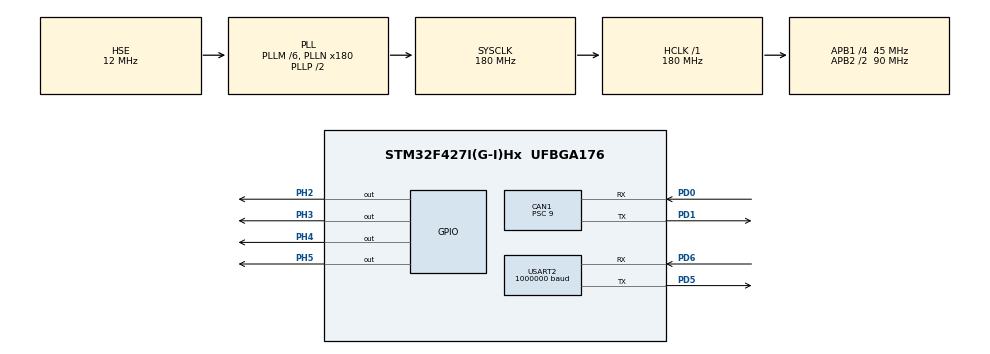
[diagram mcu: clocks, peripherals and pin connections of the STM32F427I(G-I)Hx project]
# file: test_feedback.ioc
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CAN1.ABOM=ENABLE
CAN1.BS1=CAN_BS1_2TQ
CAN1.BS2=CAN_BS2_2TQ
CAN1.CalculateBaudRate=1000000
CAN1.CalculateTimeBit=1000
CAN1.CalculateTimeQuantum=200.0
CAN1.Prescaler=9
Dma.Request0=USART2_RX
Dma.Request1=USART2_TX
Dma.USART2_RX.0.Direction=DMA_PERIPH_TO_MEMORY
Dma.USART2_RX.0.FIFOMode=DMA_FIFOMODE_DISABLE
Dma.USART2_RX.0.Instance=DMA1_Stream5
Dma.USART2_RX.0.MemDataAlignment=DMA_MDATAALIGN_BYTE
Dma.USART2_RX.0.MemInc=DMA_MINC_ENABLE
Dma.USART2_RX.0.Mode=DMA_NORMAL
Dma.USART2_RX.0.PeriphDataAlignment=DMA_PDATAALIGN_BYTE
Dma.USART2_RX.0.PeriphInc=DMA_PINC_DISABLE
Dma.USART2_RX.0.Priority=DMA_PRIORITY_LOW
Dma.USART2_TX.1.Direction=DMA_MEMORY_TO_PERIPH
Dma.USART2_TX.1.FIFOMode=DMA_FIFOMODE_DISABLE
Dma.USART2_TX.1.Instance=DMA1_Stream6
Dma.USART2_TX.1.MemDataAlignment=DMA_MDATAALIGN_BYTE
Dma.USART2_TX.1.MemInc=DMA_MINC_ENABLE
Dma.USART2_TX.1.Mode=DMA_NORMAL
Dma.USART2_TX.1.PeriphDataAlignment=DMA_PDATAALIGN_BYTE
Dma.USART2_TX.1.PeriphInc=DMA_PINC_DISABLE
Dma.USART2_TX.1.Priority=DMA_PRIORITY_LOW
Mcu.Family=STM32F4
Mcu.Name=STM32F427I(G-I)Hx
Mcu.Package=UFBGA176
NVIC.CAN1_RX0_IRQn=true\:0\:0\:false\:false\:true\:true\:true\:true
NVIC.CAN1_RX1_IRQn=true\:0\:0\:false\:false\:true\:true\:true\:true
NVIC.DMA1_Stream5_IRQn=true\:0\:0\:false\:false\:true\:false\:true\:true
NVIC.DMA1_Stream6_IRQn=true\:0\:0\:false\:false\:true\:false\:true\:true
NVIC.PriorityGroup=NVIC_PRIORITYGROUP_4
NVIC.USART2_IRQn=true\:0\:0\:false\:false\:true\:true\:true\:true
PA13.Mode=Serial_Wire
PA13.Signal=SYS_JTMS-SWDIO
PA14.Mode=Serial_Wire
PA14.Signal=SYS_JTCK-SWCLK
PD0.Mode=CAN_Activate
PD0.Signal=CAN1_RX
PD1.Mode=CAN_Activate
PD1.Signal=CAN1_TX
PD5.Mode=Asynchronous
PD5.Signal=USART2_TX
PD6.Mode=Asynchronous
PD6.Signal=USART2_RX
PH0/OSC_IN.Mode=HSE-External-Oscillator
PH0/OSC_IN.Signal=RCC_OSC_IN
PH1/OSC_OUT.Mode=HSE-External-Oscillator
PH1/OSC_OUT.Signal=RCC_OSC_OUT
PH2.GPIO_PuPd=GPIO_PULLDOWN
PH2.Signal=GPIO_Output
PH3.GPIO_PuPd=GPIO_PULLDOWN
PH3.Signal=GPIO_Output
PH4.GPIO_PuPd=GPIO_PULLDOWN
PH4.Signal=GPIO_Output
PH5.GPIO_PuPd=GPIO_PULLDOWN
PH5.Signal=GPIO_Output
ProjectManager.HeapSize=0x200
ProjectManager.StackSize=0x400
ProjectManager.TargetToolchain=MDK-ARM V5.32
RCC.48MHZClocksFreq_Value=90000000
RCC.AHBFreq_Value=180000000
RCC.APB1CLKDivider=RCC_HCLK_DIV4
RCC.APB1Freq_Value=45000000
RCC.APB1TimFreq_Value=90000000
RCC.APB2CLKDivider=RCC_HCLK_DIV2
RCC.APB2Freq_Value=90000000
RCC.APB2TimFreq_Value=180000000
RCC.CortexFreq_Value=180000000
RCC.HCLKFreq_Value=180000000
RCC.HSE_VALUE=12000000
RCC.HSI_VALUE=16000000
RCC.LSE_VALUE=32768
RCC.PLLM=6
RCC.PLLN=180
RCC.PLLSourceVirtual=RCC_PLLSOURCE_HSE
RCC.SYSCLKFreq_VALUE=180000000
RCC.SYSCLKSource=RCC_SYSCLKSOURCE_PLLCLK
RCC.VCOOutputFreq_Value=360000000
USART2.BaudRate=1000000
USART2.VirtualMode=VM_ASYNC
board=custom

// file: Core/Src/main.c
/* USER CODE BEGIN Header */
/**
 ******************************************************************************
 * @file           : main.c
 * @brief          : Main program body
 ******************************************************************************
 * @attention
 *
 * Copyright (c) 2023 STMicroelectronics.
 * All rights reserved.
 *
 * This software is licensed under terms that can be found in the LICENSE file
 * in the root directory of this software component.
 * If no LICENSE file comes with this software, it is provided AS-IS.
 *
 ******************************************************************************
 */
/* USER CODE END Header */
#include "main.h"
#include "can.h"
#include "dma.h"
#include "usart.h"
#include "gpio.h"

/* USER CODE BEGIN Includes */

#include "drv_bsp.h"

#include "dvc_serialplot.h"
#include "dvc_motor.h"

/* USER CODE END Includes */

/* USER CODE BEGIN PV */

Class_Serialplot serialplot;
Class_Motor_C620 motor;

float Target_Angle, Now_Angle, Target_Omega, Now_Omega;

uint32_t Counter = 0;

static char Variable_Assignment_List[][SERIALPLOT_RX_VARIABLE_ASSIGNMENT_MAX_LENGTH] = {
    //电机调PID
    "po",
    "io",
    "do",
    "fo",
};

/* USER CODE END PV */

void SystemClock_Config(void);

/* USER CODE BEGIN 0 */

/**
 * @brief CAN报文回调函数
 *
 * @param Rx_Buffer CAN接收的信息结构体
 */
void CAN_Motor_Call_Back(Struct_CAN_Rx_Buffer *Rx_Buffer)
{
    switch (Rx_Buffer->Header.StdId)
    {
        case (0x201):
        {
            motor.CAN_RxCpltCallback(Rx_Buffer->Data);
        }
        break;
    }
}

/**
 * @brief HAL库UART接收DMA空闲中断
 *
 * @param huart UART编号
 * @param Size 长度
 */
void UART_Serialplot_Call_Back(uint8_t *Buffer, uint16_t Length)
{
    serialplot.UART_RxCpltCallback(Buffer);
    switch (serialplot.Get_Variable_Index())
    {
        // 电机调PID
        case(0):
        {
            motor.PID_Omega.Set_K_P(serialplot.Get_Variable_Value());
        }
        break;
        case(1):
        {
            motor.PID_Omega.Set_K_I(serialplot.Get_Variable_Value());
        }
        break;
        case(2):
        {
            motor.PID_Omega.Set_K_D(serialplot.Get_Variable_Value());
        }
        break;
        case(3):
        {
            motor.PID_Omega.Set_K_F(serialplot.Get_Variable_Value());
        }
        break;
    }
}

/* USER CODE END 0 */

int main(void)
{

  /* MCU Configuration--------------------------------------------------------*/

  /* Reset of all peripherals, Initializes the Flash interface and the Systick. */
  HAL_Init();

  /* Configure the system clock */
  SystemClock_Config();

  /* Initialize all configured peripherals */
  MX_GPIO_Init();
  MX_DMA_Init();
  MX_CAN1_Init();
  MX_USART2_UART_Init();
  /* USER CODE BEGIN 2 */

    BSP_Init(BSP_DC24_LU_ON | BSP_DC24_LD_ON | BSP_DC24_RU_ON | BSP_DC24_RD_ON);
    CAN_Init(&hcan1, CAN_Motor_Call_Back);
    UART_Init(&huart2, UART_Serialplot_Call_Back, SERIALPLOT_RX_VARIABLE_ASSIGNMENT_MAX_LENGTH);

    serialplot.Init(&huart2, 4, (char **)Variable_Assignment_List);

    motor.PID_Omega.Init(0.0f, 0.0f, 0.0f, 0.0f, 2500.0f, 2500.0f);
    //修改为默认减速比�?
    motor.Init(&hcan1, CAN_Motor_ID_0x201, Control_Method_OMEGA);

  /* USER CODE END 2 */

  /* Infinite loop */
  /* USER CODE BEGIN WHILE */
    while (1)
    {
        //10sin(3t)
        Counter++;
        motor.Set_Target_Omega(10 * sin((float)Counter / 1000.0f * 3.0f));

        //串口绘图显示内容

        Target_Omega = motor.Get_Target_Omega();
        Now_Omega = motor.Get_Now_Omega();
        serialplot.Set_Data(2, &Target_Omega, &Now_Omega);
        serialplot.TIM_Write_PeriodElapsedCallback();

        //输出数据到电�?
        motor.TIM_PID_PeriodElapsedCallback();

        //通信设备回调数据
        TIM_CAN_PeriodElapsedCallback();
        TIM_UART_PeriodElapsedCallback();

        //延时1ms
        HAL_Delay(0);
    /* USER CODE END WHILE */

    }
}

void SystemClock_Config(void)
{
  RCC_OscInitTypeDef RCC_OscInitStruct = {0};
  RCC_ClkInitTypeDef RCC_ClkInitStruct = {0};

  /** Configure the main internal regulator output voltage
  */
  __HAL_RCC_PWR_CLK_ENABLE();
  __HAL_PWR_VOLTAGESCALING_CONFIG(PWR_REGULATOR_VOLTAGE_SCALE1);

  /** Initializes the RCC Oscillators according to the specified parameters
  * in the RCC_OscInitTypeDef structure.
  */
  RCC_OscInitStruct.OscillatorType = RCC_OSCILLATORTYPE_HSE;
  RCC_OscInitStruct.HSEState = RCC_HSE_ON;
  RCC_OscInitStruct.PLL.PLLState = RCC_PLL_ON;
  RCC_OscInitStruct.PLL.PLLSource = RCC_PLLSOURCE_HSE;
  RCC_OscInitStruct.PLL.PLLM = 6;
  RCC_OscInitStruct.PLL.PLLN = 180;
  RCC_OscInitStruct.PLL.PLLP = RCC_PLLP_DIV2;
  RCC_OscInitStruct.PLL.PLLQ = 4;
  if (HAL_RCC_OscConfig(&RCC_OscInitStruct) != HAL_OK)
  {
    Error_Handler();
  }

  /** Activate the Over-Drive mode
  */
  if (HAL_PWREx_EnableOverDrive() != HAL_OK)
  {
    Error_Handler();
  }

  /** Initializes the CPU, AHB and APB buses clocks
  */
  RCC_ClkInitStruct.ClockType = RCC_CLOCKTYPE_HCLK|RCC_CLOCKTYPE_SYSCLK
                              |RCC_CLOCKTYPE_PCLK1|RCC_CLOCKTYPE_PCLK2;
  RCC_ClkInitStruct.SYSCLKSource = RCC_SYSCLKSOURCE_PLLCLK;
  RCC_ClkInitStruct.AHBCLKDivider = RCC_SYSCLK_DIV1;
  RCC_ClkInitStruct.APB1CLKDivider = RCC_HCLK_DIV4;
  RCC_ClkInitStruct.APB2CLKDivider = RCC_HCLK_DIV2;

  if (HAL_RCC_ClockConfig(&RCC_ClkInitStruct, FLASH_LATENCY_5) != HAL_OK)
  {
    Error_Handler();
  }
}

void Error_Handler(void)
{
    __disable_irq();
    while (1)
    {
    }
}
